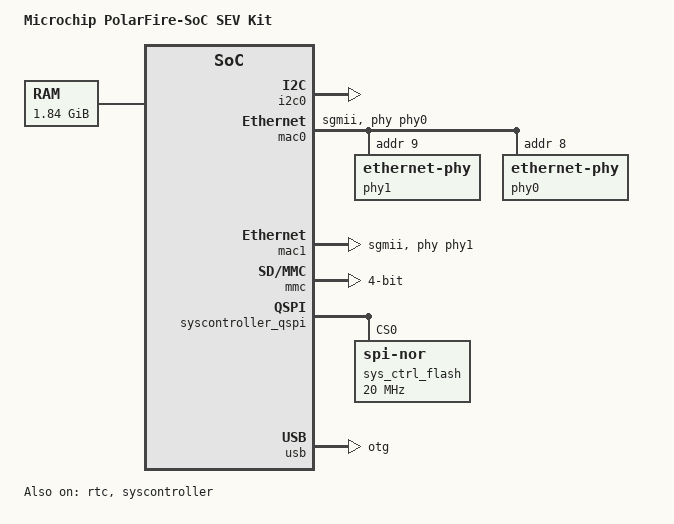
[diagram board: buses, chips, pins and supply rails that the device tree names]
// SPDX-License-Identifier: (GPL-2.0 OR MIT)
/* Copyright (c) 2022 Microchip Technology Inc */

/dts-v1/;

#include "mpfs.dtsi"
#include "mpfs-sev-kit-fabric.dtsi"

/* Clock frequency (in Hz) of the rtcclk */
#define MTIMER_FREQ		1000000

/ {
	#address-cells = <2>;
	#size-cells = <2>;
	model = "Microchip PolarFire-SoC SEV Kit";
	compatible = "microchip,mpfs-sev-kit", "microchip,mpfs";

	soc {
		dma-ranges = <0 0 0 0 0x40 0>;
	};

	aliases {
		ethernet0 = &mac1;
		serial0 = &mmuart0;
		serial1 = &mmuart1;
		serial2 = &mmuart2;
		serial3 = &mmuart3;
		serial4 = &mmuart4;
	};

	chosen {
		stdout-path = "serial1:115200n8";
	};

	cpus {
		timebase-frequency = <MTIMER_FREQ>;
	};

	reserved-memory {
		#address-cells = <2>;
		#size-cells = <2>;
		ranges;

		fabricbuf0ddrc: buffer@80000000 {
			compatible = "shared-dma-pool";
			reg = <0x0 0x80000000 0x0 0x2000000>;
			no-map;
		};

		fabricbuf1ddrnc: buffer@c4000000 {
			compatible = "shared-dma-pool";
			reg = <0x0 0xc4000000 0x0 0x4000000>;
			no-map;
		};

		fabricbuf2ddrncwcb: buffer@d4000000 {
			compatible = "shared-dma-pool";
			reg = <0x0 0xd4000000 0x0 0x4000000>;
			no-map;
		};
	};

	udmabuf0 {
		compatible = "ikwzm,u-dma-buf";
		device-name = "udmabuf-ddr-c0";
		minor-number = <0>;
		size = <0x0 0x2000000>;
		memory-region = <&fabricbuf0ddrc>;
		sync-mode = <3>;
	};

	udmabuf1 {
		compatible = "ikwzm,u-dma-buf";
		device-name = "udmabuf-ddr-nc0";
		minor-number = <1>;
		size = <0x0 0x4000000>;
		memory-region = <&fabricbuf1ddrnc>;
		sync-mode = <3>;
	};

	udmabuf2 {
		compatible = "ikwzm,u-dma-buf";
		device-name = "udmabuf-ddr-nc-wcb0";
		minor-number = <2>;
		size = <0x0 0x4000000>;
		memory-region = <&fabricbuf2ddrncwcb>;
		sync-mode = <3>;
	};

	ddrc_cache: memory@1000000000 {
		device_type = "memory";
		reg = <0x10 0x0 0x0 0x76000000>;
		status = "okay";
	};
};

&i2c0 {
	status = "okay";
};

&gpio2 {
	interrupts = <53>, <53>, <53>, <53>,
		     <53>, <53>, <53>, <53>,
		     <53>, <53>, <53>, <53>,
		     <53>, <53>, <53>, <53>,
		     <53>, <53>, <53>, <53>,
		     <53>, <53>, <53>, <53>,
		     <53>, <53>, <53>, <53>,
		     <53>, <53>, <53>, <53>;
	status = "okay";
};

&mac0 {
	status = "okay";
	phy-mode = "sgmii";
	phy-handle = <&phy0>;
	phy1: ethernet-phy@9 {
		reg = <9>;
	};
	phy0: ethernet-phy@8 {
		reg = <8>;
	};
};

&mac1 {
	status = "okay";
	phy-mode = "sgmii";
	phy-handle = <&phy1>;
};

&mbox {
	status = "okay";
};

&mmc {
	status = "okay";
	bus-width = <4>;
	disable-wp;
	cap-sd-highspeed;
	cap-mmc-highspeed;
	mmc-ddr-1_8v;
	mmc-hs200-1_8v;
	sd-uhs-sdr12;
	sd-uhs-sdr25;
	sd-uhs-sdr50;
	sd-uhs-sdr104;
};

&mmuart1 {
	status = "okay";
};

&mmuart2 {
	status = "okay";
};

&mmuart3 {
	status = "okay";
};

&mmuart4 {
	status = "okay";
};

&refclk {
	clock-frequency = <125000000>;
};

&rtc {
	status = "okay";
};

&syscontroller {
	microchip,bitstream-flash = <&sys_ctrl_flash>;
	status = "okay";
};

&syscontroller_qspi {
	status = "okay";

	sys_ctrl_flash: flash@0 {
		compatible = "jedec,spi-nor";
		#address-cells = <1>;
		#size-cells = <1>;
		spi-max-frequency = <20000000>;
		spi-rx-bus-width = <1>;
		reg = <0>;
	};
};

&usb {
	status = "okay";
	dr_mode = "otg";
};
